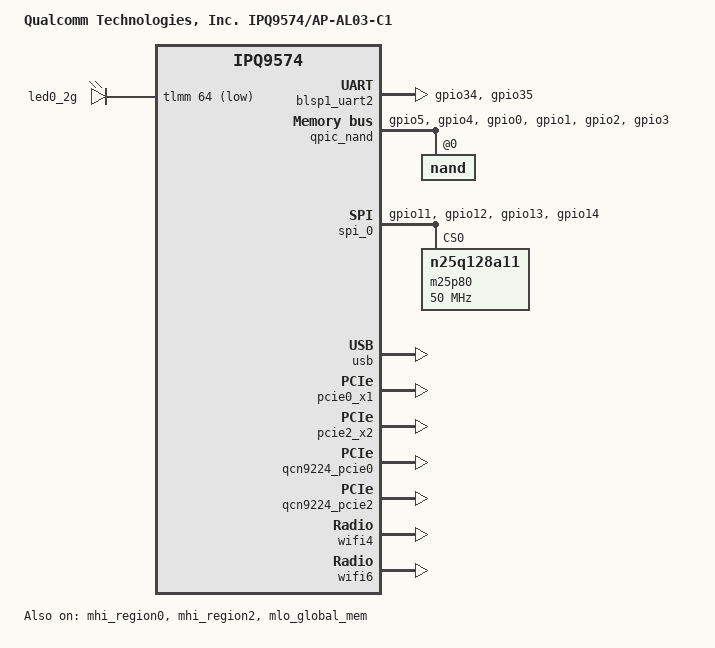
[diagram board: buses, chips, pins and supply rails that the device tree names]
// SPDX-License-Identifier: (GPL-2.0+ OR BSD-3-Clause)
/*
 * IPQ9574 AL03-C1 board device tree source
 *
 * Copyright (c) 2020-2021 The Linux Foundation. All rights reserved.
 * Copyright (c) 2022 Qualcomm Innovation Center, Inc. All rights reserved.
 */

/dts-v1/;

#include "ipq9574.dtsi"
#include "ipq9574-wkk-default-memory.dtsi"
#include "ipq9574-cpu.dtsi"

/ {
	#address-cells = <0x2>;
	#size-cells = <0x2>;
	model = "Qualcomm Technologies, Inc. IPQ9574/AP-AL03-C1";
	compatible = "qcom,ipq9574-ap-al03-c1", "qcom,ipq9574-al03", "qcom,ipq9574";
	interrupt-parent = <&intc>;

	aliases {
		serial0 = &blsp1_uart2;
	};

	chosen {
		stdout-path = "serial0";
		bootargs-append = " clk_ignore_unused";
	};

	soc {
		pinctrl@1000000 {
			blsp1_uart2_pins: blsp1_uart2_pinmux {
				pins = "gpio34", "gpio35";
				function = "blsp2_uart";
				drive-strength = <8>;
				bias-disable;
			};

			leds_pins: leds_pinmux {
				led0_2g {
					pins = "gpio64";
					function = "gpio";
					drive-strength = <8>;
					bias-pull-up;
				};
			};

			qspi_nand_pins: qspi_nand_pins {
				qspi_clock {
					pins = "gpio5";
					function = "qspi_clk";
					drive-strength = <8>;
					bias-disable;
				};

				qspi_cs {
					pins = "gpio4";
					function = "qspi_cs";
					drive-strength = <8>;
					bias-disable;
				};

				qspi_data {
					pins = "gpio0", "gpio1", "gpio2", "gpio3";
					function = "qspi_data";
					drive-strength = <8>;
					bias-disable;
				};
			};

			spi_0_pins: spi-0-pins {
				pins = "gpio11", "gpio12", "gpio13", "gpio14";
				function = "blsp0_spi";
				drive-strength = <8>;
				bias-disable;
			};

			i2c_3_pins: i2c-3-pins {
				pins = "gpio15", "gpio16";
				function = "blsp3_i2c";
				drive-strength = <8>;
				bias-disable;
			};

			mdio_pins: mdio_pinmux {
				mux_0 {
					pins = "gpio38";
					function = "mdc";
					drive-strength = <8>;
					bias-disable;
				};
				mux_1 {
					pins = "gpio39";
					function = "mdio";
					drive-strength = <8>;
					bias-pull-up;
				};
			};

			button_pins: button_pins {
				wps_button {
					pins = "gpio37";
					function = "gpio";
					drive-strength = <8>;
					bias-pull-up;
				};
			};
		};

		blsp1_uart2: serial@78b1000 {
			pinctrl-0 = <&blsp1_uart2_pins>;
			pinctrl-names = "default";
			status = "ok";
		};

		nss0: nss@40000000 {
			npu-supply = <&dummy_reg>;
			mx-supply = <&dummy_reg>;
		};

		rpm-glink {
			status = "disabled";
		};

		qpic_bam: dma@7984000 {
			status = "ok";
		};

		qpic_nand: nand@79b0000 {
			status = "ok";
			pinctrl-0 = <&qspi_nand_pins>;
			pinctrl-names = "default";
			qcom,io_macro_max_clk = <320000000>;
			qcom,io_macro_clk_rates = <24000000 100000000 200000000 \
						  320000000>;
			nand@0 {
				reg = <0>;
				#address-cells = <1>;
				#size-cells = <1>;

				nand-ecc-strength = <4>;
				nand-ecc-step-size = <512>;
				nand-bus-width = <8>;
			};
		};

		spi_0: spi@78b5000 { /* BLSP1 QUP0 */
			status = "ok";
			pinctrl-0 = <&spi_0_pins>;
			pinctrl-names = "default";
			cs-select = <0>;

			m25p80@0 {
				compatible = "n25q128a11";
				#address-cells = <1>;
				#size-cells = <1>;
				reg = <0>;
				spi-max-frequency = <50000000>;
			};
		};

		eud: qcom,msm-eud {
			status = "ok";
		};

		usb: usb3@8A00000 {
			status = "ok";
		};

		qusb_phy_0: qusb@7B000 {
			status = "ok";
		};

		ssphy_0: ssphy@7D000 {
			status = "ok";
		};

		leds {
			compatible = "gpio-leds";
			pinctrl-0 = <&leds_pins>;
			pinctrl-names = "default";
			led@64 {
				label = "led0_2g";
				gpios = <&tlmm 64 GPIO_ACTIVE_LOW>;
				linux,default-trigger = "led_2g";
				default-state = "off";
			};
		};

		pcie0_x1: pci@28000000 {
			perst-gpio = <&tlmm 23 1>;
			status = "ok";
			pcie0_rp {
				reg = <0 0 0 0 0>;

				qcom,mhi@0 {
					reg = <0 0 0 0 0>;
					qrtr_node_id = <0x30>;
#if defined(__CNSS2__)
					memory-region = <0>,<&mhi_region0>;
#endif
				};
			};
		};

		pcie0_phy: phy@84000 {
			status = "ok";
		};

		pcie2_x2: pci@20000000 {
			perst-gpio = <&tlmm 29 1>;
			status = "ok";
			pcie2_rp {
				reg = <0 0 0 0 0>;

				qcom,mhi@1 {
					reg = <0 0 0 0 0>;
					qrtr_node_id = <0x32>;
#if defined(__CNSS2__)
					memory-region = <0>,<&mhi_region1>;
#endif
				};
			};
		};

		pcie2_phy: phy@8c000 {
			status = "ok";
		};
	};
};

&CPU0 {
        cpu0-supply = <&dummy_reg_cpu>;
};

&CPU1 {
        cpu-supply = <&dummy_reg_cpu>;
};

&CPU2 {
        cpu-supply = <&dummy_reg_cpu>;
};

&CPU3 {
        cpu-supply = <&dummy_reg_cpu>;
};

&cpus {
	cpu_opp_table: cpu_opp_table {
		/delete-node/ opp-0;
		opp-936000000 {
		      opp-microvolt = <1075000>;
		};
		opp-1104000000 {
		       opp-microvolt = <1075000>;
		};
		opp-1200000000 {
		       opp-microvolt = <1075000>;
		};
		opp-1416000000 {
		       opp-microvolt = <1075000>;
		};
		opp-1488000000 {
		       opp-microvolt = <1075000>;
		};
		opp-1608000000 {
		       opp-microvolt = <1075000>;
		};
		opp-1800000000 {
		       opp-microvolt = <1075000>;
	       };
	       opp-2208000000 {
		       opp-microvolt = <1075000>;
	       };
	};
};

&apc_apm {
	status = "disabled";
};

&apc_cpr {
	status = "disabled";
};

&npu_cpr {
	status = "disabled";
};

/* Enable the reserved memory regions of QCN9224 on PCIe0 and PCIe2*/
&qcn9224_pcie0 {
        status = "ok";
};

&mhi_region0 {
        status = "ok";
};

&qcn9224_pcie2 {
        status = "ok";
};

&mhi_region2 {
        status = "ok";
};

&mlo_global_mem {
	reg = <0x0 0x5FD00000 0x0 0xC00000>;
	status = "ok";
};

&wifi0 {
	/* Internal 2G radio is disabled */
	status = "disabled";
};

&wifi4 {
	hremote_node = <&qcn9224_pcie0>;
	board_id = <0x03>;
	firmware_name = "amss_dualmac.bin";
	status = "ok";
};

&wifi6 {
	hremote_node = <&qcn9224_pcie1>;
	board_id = <0x04>;
	status = "ok";
};
